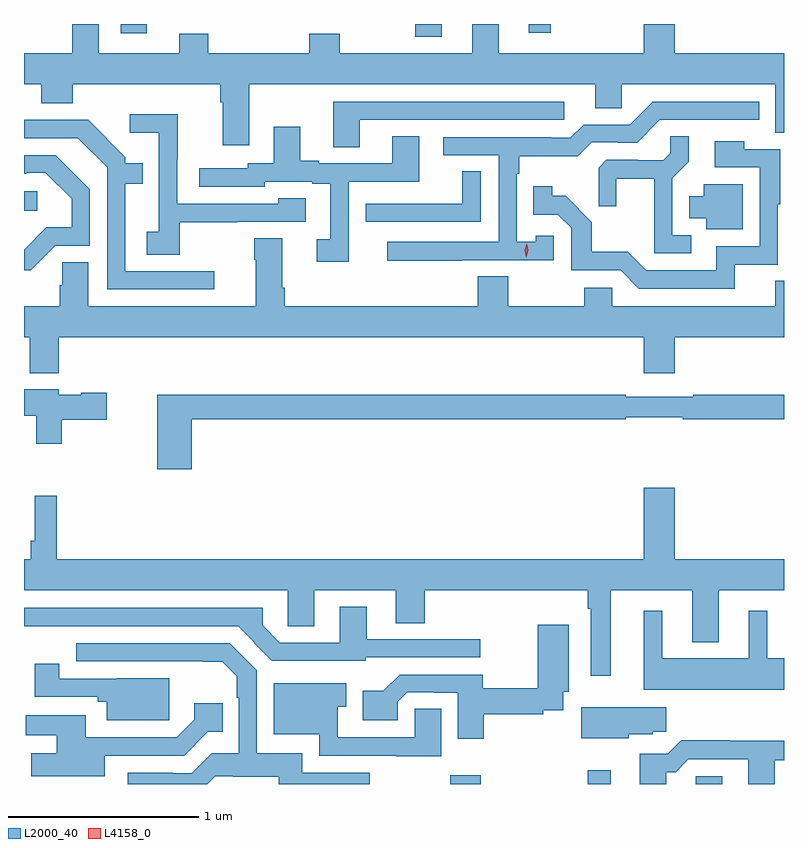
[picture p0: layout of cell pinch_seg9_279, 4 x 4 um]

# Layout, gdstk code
import gdstk
lib = gdstk.Library(unit=1e-6, precision=1e-09)
def R(c, l, rs):  # rectangles x0, y0, x1, y1
    for r in rs: c.add(gdstk.rectangle(r[:2], r[2:], *l))
def P(c, l, *ps):  # polygons
    for p in ps: c.add(gdstk.Polygon(p, *l))
L2000_40 = (2000, 40)
L4158_0 = (4158, 0)

pinch_seg9_279 = lib.new_cell('pinch_seg9_279')
R(pinch_seg9_279, L2000_40, [(403.75,1168.761,403.91,1168.807), (404.472,1168.761,404.593,1168.834), (405.042,1168.761,405.181,1168.802), (401.506,1171.778,401.575,1171.881), (403.565,1172.693,403.705,1172.761), (402.014,1172.712,402.151,1172.761), (404.162,1172.715,404.279,1172.761)])
P(pinch_seg9_279, L2000_40, [(402.691,1172.444),(404.513,1172.444),(404.513,1172.317),(404.652,1172.317),(404.652,1172.444),(405.461,1172.444),(405.461,1172.188),(405.506,1172.188),(405.506,1172.608),(404.932,1172.608),(404.932,1172.761),(404.768,1172.761),(404.768,1172.608),(404.005,1172.608),(404.005,1172.761),(403.865,1172.761),(403.865,1172.608),(403.167,1172.608),(403.167,1172.71),(403.007,1172.71),(403.007,1172.608),(402.476,1172.608),(402.476,1172.71),(402.323,1172.71),(402.323,1172.608),(401.899,1172.608),(401.899,1172.761),(401.759,1172.761),(401.759,1172.608),(401.506,1172.608),(401.506,1172.444),(401.597,1172.444),(401.597,1172.345),(401.762,1172.345),(401.762,1172.444),(402.539,1172.444),(402.539,1172.348),(402.551,1172.348),(402.551,1172.124),(402.691,1172.124)],
  [(403.273,1172.256),(404.35,1172.256),(404.35,1172.352),(403.133,1172.352),(403.133,1172.113),(403.273,1172.113)],
  [(403.811,1171.518),(404.295,1171.518),(404.295,1171.647),(404.199,1171.647),(404.199,1171.615),(404.1,1171.615),(404.1,1171.973),(404.113,1171.973),(404.113,1172.066),(404.42,1172.066),(404.493,1172.139),(404.632,1172.139),(404.632,1172.136),(404.733,1172.136),(404.853,1172.256),(405.376,1172.256),(405.376,1172.352),(404.814,1172.352),(404.694,1172.232),(404.451,1172.232),(404.382,1172.163),(404.282,1172.163),(404.282,1172.166),(403.713,1172.166),(403.713,1172.07),(404.004,1172.07),(404.004,1171.614),(403.419,1171.614),(403.419,1171.516),(403.811,1171.516)],
  [(402.325,1171.717),(402.629,1171.717),(402.629,1171.719),(402.988,1171.719),(402.988,1171.843),(402.843,1171.843),(402.843,1171.815),(402.312,1171.815),(402.312,1172.048),(402.315,1172.048),(402.315,1172.287),(402.063,1172.287),(402.063,1172.189),(402.216,1172.189),(402.216,1171.668),(402.153,1171.668),(402.153,1171.546),(402.325,1171.546)],
  [(402.508,1171.461),(402.04,1171.461),(402.04,1171.92),(402.131,1171.92),(402.131,1172.029),(402.039,1172.029),(402.039,1172.061),(401.844,1172.256),(401.513,1172.256),(401.513,1172.258),(401.506,1172.258),(401.506,1172.16),(401.79,1172.16),(401.943,1172.007),(401.943,1171.365),(402.508,1171.365)],
  [(403.215,1171.932),(403.585,1171.932),(403.585,1172.171),(403.445,1172.171),(403.445,1172.028),(403.057,1172.028),(403.057,1172.041),(402.961,1172.041),(402.961,1172.221),(402.821,1172.221),(402.821,1172.028),(402.684,1172.028),(402.684,1172.001),(402.429,1172.001),(402.429,1171.905),(402.774,1171.905),(402.774,1171.932),(403.022,1171.932),(403.022,1171.92),(403.118,1171.92),(403.118,1171.629),(403.047,1171.629),(403.047,1171.509),(403.215,1171.509)],
  [(405.019,1171.65),(404.919,1171.65),(404.919,1171.949),(405.005,1172.035),(405.005,1172.171),(404.907,1172.171),(404.907,1172.08),(404.87,1172.043),(404.736,1172.043),(404.736,1172.046),(404.571,1172.046),(404.53,1172.005),(404.53,1171.803),(404.624,1171.803),(404.624,1171.946),(404.822,1171.946),(404.822,1171.554),(405.019,1171.554)],
  [(405.248,1171.494),(405.474,1171.494),(405.474,1171.813),(405.487,1171.813),(405.487,1172.103),(405.297,1172.103),(405.297,1172.143),(405.141,1172.143),(405.141,1172.007),(405.378,1172.007),(405.378,1171.59),(405.149,1171.59),(405.149,1171.464),(404.781,1171.464),(404.683,1171.563),(404.494,1171.563),(404.494,1171.718),(404.356,1171.856),(404.286,1171.856),(404.286,1171.906),(404.185,1171.906),(404.185,1171.758),(404.316,1171.758),(404.385,1171.689),(404.385,1171.464),(404.646,1171.464),(404.742,1171.368),(405.248,1171.368)],
  [(401.67,1171.593),(401.853,1171.593),(401.853,1171.891),(401.674,1172.07),(401.506,1172.07),(401.506,1171.974),(401.519,1171.974),(401.519,1171.977),(401.619,1171.977),(401.756,1171.84),(401.756,1171.69),(401.623,1171.69),(401.506,1171.573),(401.506,1171.466),(401.542,1171.466)],
  [(403.911,1171.985),(403.813,1171.985),(403.813,1171.815),(403.417,1171.815),(403.417,1171.814),(403.305,1171.814),(403.305,1171.719),(403.911,1171.719)],
  [(405.289,1171.918),(405.083,1171.918),(405.083,1171.855),(405.008,1171.855),(405.008,1171.739),(405.098,1171.739),(405.098,1171.682),(405.289,1171.682)],
  [(401.69,1171.112),(404.768,1171.112),(404.768,1170.924),(404.932,1170.924),(404.932,1171.112),(405.506,1171.112),(405.506,1171.409),(405.461,1171.409),(405.461,1171.276),(404.601,1171.276),(404.601,1171.374),(404.455,1171.374),(404.455,1171.276),(404.055,1171.276),(404.055,1171.433),(403.895,1171.433),(403.895,1171.276),(402.878,1171.276),(402.878,1171.372),(402.865,1171.372),(402.865,1171.633),(402.718,1171.633),(402.718,1171.52),(402.725,1171.52),(402.725,1171.276),(401.845,1171.276),(401.845,1171.508),(401.707,1171.508),(401.707,1171.386),(401.693,1171.386),(401.693,1171.276),(401.506,1171.276),(401.506,1171.112),(401.537,1171.112),(401.537,1170.923),(401.69,1170.923)],
  [(401.705,1170.677),(401.941,1170.677),(401.941,1170.819),(401.808,1170.819),(401.808,1170.811),(401.688,1170.811),(401.688,1170.838),(401.506,1170.838),(401.506,1170.7),(401.57,1170.7),(401.57,1170.552),(401.705,1170.552)],
  [(402.389,1170.682),(404.674,1170.682),(404.674,1170.69),(404.974,1170.69),(404.974,1170.682),(405.506,1170.682),(405.506,1170.811),(405.028,1170.811),(405.028,1170.798),(404.672,1170.798),(404.672,1170.811),(402.206,1170.811),(402.206,1170.417),(402.389,1170.417)],
  [(404.593,1169.78),(405.023,1169.78),(405.023,1169.507),(405.163,1169.507),(405.163,1169.78),(405.506,1169.78),(405.506,1169.944),(404.932,1169.944),(404.932,1170.319),(404.768,1170.319),(404.768,1169.944),(401.678,1169.944),(401.678,1170.277),(401.562,1170.277),(401.562,1170.04),(401.542,1170.04),(401.542,1169.944),(401.506,1169.944),(401.506,1169.78),(402.894,1169.78),(402.894,1169.59),(403.033,1169.59),(403.033,1169.78),(403.463,1169.78),(403.463,1169.608),(403.616,1169.608),(403.616,1169.78),(404.472,1169.78),(404.472,1169.684),(404.489,1169.684),(404.489,1169.331),(404.593,1169.331)],
  [(403.305,1169.427),(403.906,1169.427),(403.906,1169.523),(403.309,1169.523),(403.309,1169.695),(403.169,1169.695),(403.169,1169.505),(402.852,1169.505),(402.762,1169.596),(402.762,1169.688),(401.506,1169.688),(401.506,1169.592),(402.633,1169.592),(402.718,1169.507),(402.715,1169.504),(402.81,1169.409),(403.305,1169.409)],
  [(405.506,1169.422),(405.418,1169.422),(405.418,1169.674),(405.32,1169.674),(405.32,1169.422),(404.866,1169.422),(404.866,1169.674),(404.768,1169.674),(404.768,1169.258),(405.506,1169.258)],
  [(403.925,1169.128),(404.24,1169.128),(404.24,1169.148),(404.344,1169.148),(404.344,1169.246),(404.374,1169.246),(404.374,1169.599),(404.209,1169.599),(404.209,1169.264),(403.92,1169.264),(403.92,1169.337),(403.484,1169.337),(403.398,1169.251),(403.288,1169.251),(403.288,1169.096),(403.473,1169.096),(403.473,1169.193),(403.524,1169.244),(403.666,1169.244),(403.666,1169.241),(403.79,1169.241),(403.79,1168.998),(403.925,1168.998)],
  [(402.513,1168.803),(402.607,1168.803),(402.607,1168.799),(402.848,1168.799),(402.848,1168.761),(403.327,1168.761),(403.327,1168.821),(402.97,1168.821),(402.97,1168.924),(402.732,1168.924),(402.732,1169.359),(402.589,1169.502),(401.781,1169.502),(401.781,1169.406),(402.446,1169.406),(402.446,1169.404),(402.55,1169.404),(402.626,1169.328),(402.626,1169.216),(402.636,1169.216),(402.636,1168.923),(402.495,1168.923),(402.39,1168.818),(402.29,1168.818),(402.29,1168.821),(402.051,1168.821),(402.051,1168.761),(402.471,1168.761)],
  [(402.271,1169.317),(401.995,1169.317),(401.995,1169.316),(401.692,1169.316),(401.692,1169.395),(401.562,1169.395),(401.562,1169.22),(401.895,1169.22),(401.895,1169.195),(401.942,1169.195),(401.942,1169.096),(402.271,1169.096)],
  [(403.702,1169.156),(403.563,1169.156),(403.563,1169.007),(403.156,1169.007),(403.156,1169.168),(403.203,1169.168),(403.203,1169.29),(402.821,1169.29),(402.821,1169.024),(403.059,1169.024),(403.059,1168.911),(403.466,1168.911),(403.466,1168.906),(403.702,1168.906)],
  [(401.932,1168.911),(402.349,1168.911),(402.474,1169.036),(402.551,1169.036),(402.551,1169.185),(402.401,1169.185),(402.401,1169.099),(402.309,1169.007),(401.83,1169.007),(401.83,1169.122),(401.514,1169.122),(401.514,1169.018),(401.678,1169.018),(401.678,1168.924),(401.544,1168.924),(401.544,1168.802),(401.932,1168.802)],
  [(404.688,1169.024),(404.814,1169.024),(404.814,1169.035),(404.887,1169.035),(404.887,1169.164),(404.438,1169.164),(404.438,1169.003),(404.688,1169.003)],
  [(404.887,1168.823),(404.936,1168.823),(405.003,1168.89),(405.317,1168.89),(405.317,1168.761),(405.457,1168.761),(405.457,1168.887),(405.506,1168.887),(405.506,1168.988),(405.221,1168.988),(405.221,1168.991),(404.966,1168.991),(404.895,1168.92),(404.747,1168.92),(404.747,1168.761),(404.887,1168.761)])
P(pinch_seg9_279, L4158_0, [(404.15,1171.533),(404.15,1171.533),(404.141,1171.57),(404.152,1171.605),(404.152,1171.605),(404.153,1171.605),(404.161,1171.569),(404.15,1171.533)])

lib.write_gds('pinch_seg9_279.gds')
